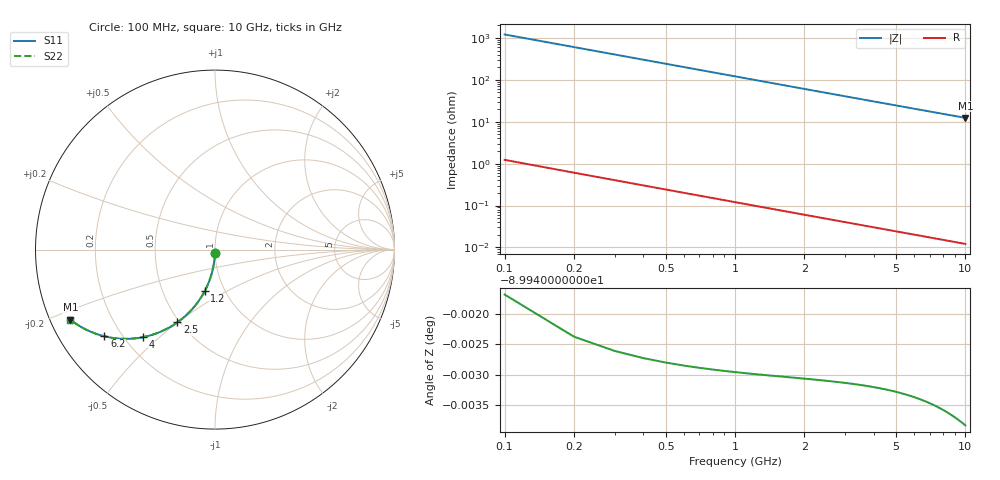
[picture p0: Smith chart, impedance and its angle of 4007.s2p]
# Hz S RI R 50.00
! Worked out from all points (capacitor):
!   100 points, 100 MHz to 10 GHz, reference 50 ohm
!   read as one part in shunt: C = 1.31 pF near 100 MHz
!   lowest |Z| = 12.4 ohm at 10 GHz (marker M1)
!   S11 on the Smith chart (normalised r, x): 100 MHz: 1.00, -0.04; 1.2 GHz: 0.80, -0.40; 2.5 GHz: 0.49, -0.50; 4 GHz: 0.27, -0.44; 6.2 GHz: 0.14, -0.34; 10 GHz: 0.06, -0.23
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1e8  -0.00044 -0.0206  0.9995 -0.0207  0.9995 -0.0207  -0.00044 -0.0206
2e8  -0.00174 -0.0411  0.9983 -0.0413  0.9983 -0.0413  -0.00174 -0.0411
3e8  -0.00387 -0.0615  0.9961 -0.0618  0.9961 -0.0618  -0.00387 -0.0615
4e8  -0.00684 -0.0818  0.9931 -0.0822  0.9931 -0.0822  -0.00684 -0.0818
5e8  -0.0106 -0.1018  0.9894 -0.1023  0.9894 -0.1023  -0.0106 -0.1018
6e8  -0.0152 -0.1216  0.9848 -0.1222  0.9848 -0.1222  -0.0152 -0.1216
7e8  -0.0206 -0.1411  0.9794 -0.1417  0.9794 -0.1417  -0.0206 -0.1411
9e8  -0.0335 -0.1789  0.9665 -0.1797  0.9665 -0.1797  -0.0335 -0.1789
1.2e9  -0.0578 -0.2324  0.9422 -0.2335  0.9422 -0.2335  -0.0578 -0.2324
1.5e9  -0.0873 -0.2812  0.9126 -0.2825  0.9126 -0.2825  -0.0873 -0.2812
1.8e9  -0.1209 -0.3247  0.8791 -0.3264  0.8791 -0.3264  -0.1209 -0.3247
2.1e9  -0.1575 -0.3628  0.8425 -0.3647  0.8425 -0.3647  -0.1575 -0.3628
2.5e9  -0.209 -0.405  0.7909 -0.4073  0.7909 -0.4073  -0.209 -0.405
2.9e9  -0.2619 -0.4379  0.7381 -0.4405  0.7381 -0.4405  -0.2619 -0.4379
3.4e9  -0.3273 -0.4672  0.6726 -0.4703  0.6726 -0.4703  -0.3273 -0.4672
4e9  -0.4018 -0.488  0.5982 -0.4916  0.5982 -0.4916  -0.4018 -0.488
5.1e9  -0.521 -0.4967  0.479 -0.5014  0.479 -0.5014  -0.521 -0.4967
6.2e9  -0.6157 -0.4831  0.3843 -0.4888  0.3843 -0.4888  -0.6157 -0.4831
6.7e9  -0.6514 -0.4729  0.3486 -0.4791  0.3486 -0.4791  -0.6514 -0.4729
7.5e9  -0.7003 -0.4541  0.2996 -0.4611  0.2996 -0.4611  -0.7003 -0.4541
8.4e9  -0.7453 -0.4313  0.2546 -0.4391  0.2546 -0.4391  -0.7453 -0.4313
1e10  -0.8054 -0.3907  0.1945 -0.4  0.1945 -0.4  -0.8054 -0.3907
